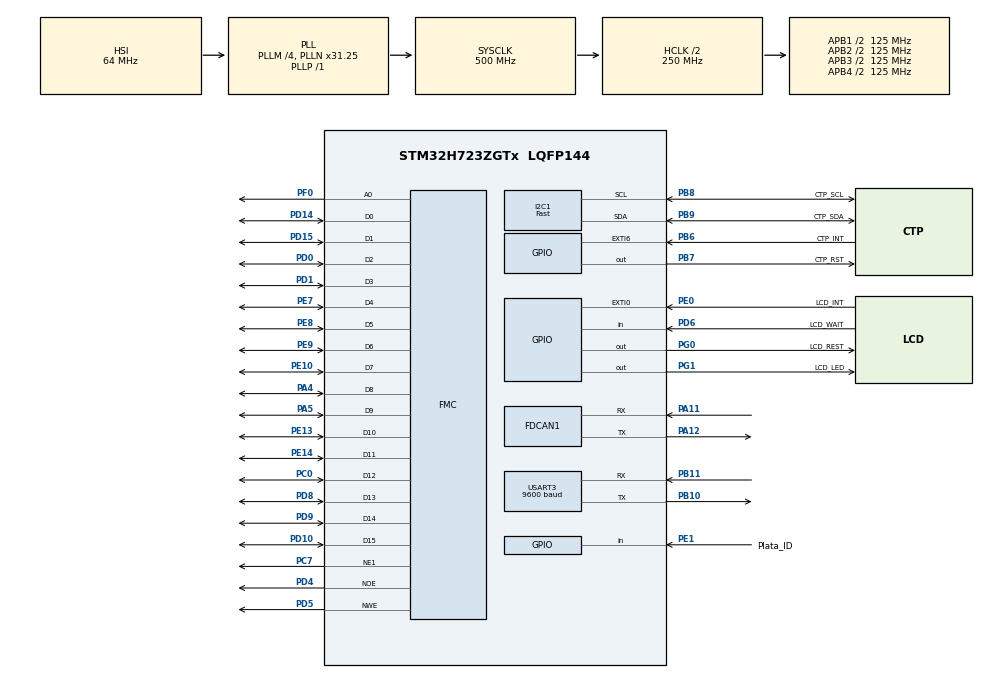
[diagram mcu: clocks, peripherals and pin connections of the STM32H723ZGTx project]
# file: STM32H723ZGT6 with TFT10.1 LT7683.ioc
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CORTEX_M7.AccessPermission_S-Cortex_Memory_Protection_Unit_Region1_Settings_S=MPU_REGION_FULL_ACCESS
CORTEX_M7.AccessPermission_Spec=MPU_REGION_NO_ACCESS
CORTEX_M7.BaseAddress_S-Cortex_Memory_Protection_Unit_Region1_Settings_S=0x60000000
CORTEX_M7.DisableExec_S-Cortex_Memory_Protection_Unit_Region1_Settings_S=MPU_INSTRUCTION_ACCESS_DISABLE
CORTEX_M7.Enable_S-Cortex_Memory_Protection_Unit_Region1_Settings_S=MPU_REGION_ENABLE
CORTEX_M7.IsBufferable_S-Cortex_Memory_Protection_Unit_Region1_Settings_S=MPU_ACCESS_BUFFERABLE
CORTEX_M7.IsShareable_S-Cortex_Memory_Protection_Unit_Region1_Settings_S=MPU_ACCESS_SHAREABLE
CORTEX_M7.Size_S-Cortex_Memory_Protection_Unit_Region1_Settings_S=MPU_REGION_SIZE_64B
CORTEX_M7.SubRegionDisable_Spec=0x8F
CORTEX_M7.default_mode_Activation=1
FDCAN1.AutoRetransmission=ENABLE
FDCAN1.CalculateBaudRateNominal=50000
FDCAN1.CalculateTimeBitNominal=20000
FDCAN1.CalculateTimeQuantumNominal=2000.0
FDCAN1.ExtFiltersNbr=1
FDCAN1.NominalPrescaler=250
FDCAN1.NominalTimeSeg1=8
FDCAN1.NominalTimeSeg2=1
FDCAN1.RxFifo0ElmtsNbr=8
FDCAN1.StdFiltersNbr=1
FDCAN1.TxFifoQueueElmtsNbr=8
FMC.AddressSetupTime1=3
FMC.BusTurnAroundDuration1=3
FMC.DataSetupTime1=10
FMC.WriteOperation1=FMC_WRITE_OPERATION_ENABLE
I2C1.I2C_Speed_Mode=I2C_Fast
I2C1.Timing=0x00C042E4
Mcu.Family=STM32H7
Mcu.Name=STM32H723ZGTx
Mcu.Package=LQFP144
NVIC.EXTI0_IRQn=true\:0\:0\:false\:false\:true\:true\:true\:true
NVIC.EXTI9_5_IRQn=true\:0\:0\:false\:false\:true\:true\:true\:true
NVIC.FDCAN1_IT0_IRQn=true\:0\:0\:false\:false\:true\:true\:true\:true
NVIC.PriorityGroup=NVIC_PRIORITYGROUP_4
NVIC.TIM2_IRQn=true\:0\:0\:false\:false\:true\:true\:true\:true
NVIC.TIM3_IRQn=true\:0\:0\:false\:false\:true\:true\:true\:true
NVIC.TIM4_IRQn=true\:0\:0\:false\:false\:true\:true\:true\:true
PA11.Mode=FDCAN_Activate
PA11.Signal=FDCAN1_RX
PA12.Mode=FDCAN_Activate
PA12.Signal=FDCAN1_TX
PA13(JTMS/SWDIO).GPIO_Label=SWDIO
PA13(JTMS/SWDIO).Mode=Serial_Wire
PA13(JTMS/SWDIO).Signal=DEBUG_JTMS-SWDIO
PA14(JTCK/SWCLK).GPIO_Label=SWCLK
PA14(JTCK/SWCLK).Mode=Serial_Wire
PA14(JTCK/SWCLK).Signal=DEBUG_JTCK-SWCLK
PA4.Signal=FMC_D8_DA8
PA5.Signal=FMC_D9_DA9
PB10.Mode=Asynchronous
PB10.Signal=USART3_TX
PB11.Mode=Asynchronous
PB11.Signal=USART3_RX
PB6.GPIO_Label=CTP_INT
PB6.GPIO_PuPd=GPIO_PULLUP
PB6.Signal=GPXTI6
PB7.GPIO_Label=CTP_RST
PB7.GPIO_PuPd=GPIO_NOPULL
PB7.PinState=GPIO_PIN_SET
PB7.Signal=GPIO_Output
PB8.GPIO_Label=CTP_SCL
PB8.GPIO_Pu=GPIO_PULLUP
PB8.Mode=I2C
PB8.Signal=I2C1_SCL
PB9.GPIO_Label=CTP_SDA
PB9.GPIO_Pu=GPIO_PULLUP
PB9.Mode=I2C
PB9.Signal=I2C1_SDA
PC0.Signal=FMC_D12_DA12
PC14-OSC32_IN.Mode=LSE-External-Oscillator
PC14-OSC32_IN.Signal=RCC_OSC32_IN
PC15-OSC32_OUT.Mode=LSE-External-Oscillator
PC15-OSC32_OUT.Signal=RCC_OSC32_OUT
PC7.Mode=NorPsramChipSelect1_1
PC7.Signal=FMC_NE1
PD0.Signal=FMC_D2_DA2
PD1.Signal=FMC_D3_DA3
PD10.Signal=FMC_D15_DA15
PD14.Signal=FMC_D0_DA0
PD15.Signal=FMC_D1_DA1
PD4.Signal=FMC_NOE
PD5.Signal=FMC_NWE
PD6.GPIO_Label=LCD_WAIT
PD6.GPIO_PuPd=GPIO_PULLUP
PD6.Signal=GPIO_Input
PD8.Signal=FMC_D13_DA13
PD9.Signal=FMC_D14_DA14
PE0.GPIO_Label=LCD_INT
PE0.GPIO_ModeDefaultEXTI=GPIO_MODE_IT_FALLING
PE0.GPIO_PuPd=GPIO_PULLUP
PE0.Signal=GPXTI0
PE1.GPIO_Label=Plata_ID
PE1.GPIO_PuPd=GPIO_NOPULL
PE1.Signal=GPIO_Input
PE10.Signal=FMC_D7_DA7
PE13.Signal=FMC_D10_DA10
PE14.Signal=FMC_D11_DA11
PE7.Signal=FMC_D4_DA4
PE8.Signal=FMC_D5_DA5
PE9.Signal=FMC_D6_DA6
PF0.Signal=FMC_A0
PG0.GPIO_Label=LCD_REST
PG0.PinState=GPIO_PIN_SET
PG0.Signal=GPIO_Output
PG1.GPIO_Label=LCD_LED
PG1.PinState=GPIO_PIN_SET
PG1.Signal=GPIO_Output
ProjectManager.HeapSize=0x200
ProjectManager.StackSize=0x400
ProjectManager.TargetToolchain=STM32CubeIDE
RCC.ADCFreq_Value=129000000
RCC.APB1Freq_Value=125000000
RCC.APB2Freq_Value=125000000
RCC.APB3Freq_Value=125000000
RCC.APB4Freq_Value=125000000
RCC.CortexFreq_Value=500000000
RCC.D1PPRE=RCC_APB3_DIV2
RCC.D2PPRE1=RCC_APB1_DIV2
RCC.D2PPRE2=RCC_APB2_DIV2
RCC.D3PPRE=RCC_APB4_DIV2
RCC.DIVM1=4
RCC.DIVN1=31
RCC.DIVP1=1
RCC.DIVQ1=4
RCC.HCLKFreq_Value=250000000
RCC.HPRE=RCC_HCLK_DIV2
RCC.HSE_VALUE=8000000
RCC.PLLFRACN=2048
RCC.PREFETCH_ENABLE=1
RCC.SYSCLKFreq_VALUE=500000000
RCC.SYSCLKSource=RCC_SYSCLKSOURCE_PLLCLK
RCC.USBCLockSelection=RCC_USBCLKSOURCE_HSI48
RCC.USBFreq_Value=48000000
SH.FMC_A0.0=FMC_A0,1b-a1
SH.FMC_D0_DA0.0=FMC_D0,16b-d1
SH.FMC_D10_DA10.0=FMC_D10,16b-d1
SH.FMC_D11_DA11.0=FMC_D11,16b-d1
SH.FMC_D12_DA12.0=FMC_D12,16b-d1
SH.FMC_D13_DA13.0=FMC_D13,16b-d1
SH.FMC_D14_DA14.0=FMC_D14,16b-d1
SH.FMC_D15_DA15.0=FMC_D15,16b-d1
SH.FMC_D1_DA1.0=FMC_D1,16b-d1
SH.FMC_D2_DA2.0=FMC_D2,16b-d1
SH.FMC_D3_DA3.0=FMC_D3,16b-d1
SH.FMC_D4_DA4.0=FMC_D4,16b-d1
SH.FMC_D5_DA5.0=FMC_D5,16b-d1
SH.FMC_D6_DA6.0=FMC_D6,16b-d1
SH.FMC_D7_DA7.0=FMC_D7,16b-d1
SH.FMC_D8_DA8.0=FMC_D8,16b-d1
SH.FMC_D9_DA9.0=FMC_D9,16b-d1
SH.FMC_NOE.0=FMC_NOE,Sram1
SH.FMC_NWE.0=FMC_NWE,Sram1
TIM2.Period=1000
TIM2.Prescaler=96-1
TIM2.TIM_MasterOutputTrigger=TIM_TRGO_UPDATE
TIM3.Period=0xFFFF
TIM3.Prescaler=9600-1
TIM4.Period=0xFFFF
TIM4.Prescaler=9600-1
USART3.BaudRate=9600
USART3.VirtualMode-Asynchronous=VM_ASYNC
VP_MEMORYMAP_VS_MEMORYMAP.Mode=CurAppReg
VP_TIM2_VS_ClockSourceINT.Mode=Internal
VP_TIM3_VS_ClockSourceINT.Mode=Internal
VP_TIM4_VS_ClockSourceINT.Mode=Internal
board=NUCLEO-H723ZG

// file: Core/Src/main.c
/* USER CODE BEGIN Header */
/**
  ******************************************************************************
  * @file           : main.c
  * @brief          : Main program body
  ******************************************************************************
  * @attention
  *
  * Copyright (c) 2026 STMicroelectronics.
  * All rights reserved.
  *
  * This software is licensed under terms that can be found in the LICENSE file
  * in the root directory of this software component.
  * If no LICENSE file comes with this software, it is provided AS-IS.
  *
  ******************************************************************************
  */
/* USER CODE END Header */
#include "main.h"
#include "fdcan.h"
#include "i2c.h"
#include "tim.h"
#include "usart.h"
#include "gpio.h"
#include "fmc.h"

/* USER CODE BEGIN Includes */
#include "ssd1963.h"
#include "room_ui.h"
#include "gt9271.h"
#include "hmi_menu.h"
/* USER CODE END Includes */

/* USER CODE BEGIN PV */
static RoomUi_Values g_room_values;
static uint8_t g_doors_mask = 0x1FU;
static uint8_t g_link = 1U;
static uint8_t g_sim_on = 1U;
static HmiMenu_Ctx g_menu;
/* USER CODE END PV */

void SystemClock_Config(void);
static void MPU_Config(void);

int main(void)
{

  /* USER CODE BEGIN 1 */
  SCB_EnableICache();
  /* USER CODE END 1 */

  /* MPU Configuration--------------------------------------------------------*/
  MPU_Config();

  /* MCU Configuration--------------------------------------------------------*/

  /* Reset of all peripherals, Initializes the Flash interface and the Systick. */
  HAL_Init();

  /* Configure the system clock */
  SystemClock_Config();

  /* USER CODE BEGIN SysInit */
  /* FMC Bank1 @0x60000000: open MPU (Region0 otherwise blocks it) */
  {
    MPU_Region_InitTypeDef MPU_InitStruct = {0};

    HAL_MPU_Disable();

    MPU_InitStruct.Enable = MPU_REGION_ENABLE;
    MPU_InitStruct.Number = MPU_REGION_NUMBER0;
    MPU_InitStruct.BaseAddress = 0x0;
    MPU_InitStruct.Size = MPU_REGION_SIZE_4GB;
    MPU_InitStruct.SubRegionDisable = 0x8F;
    MPU_InitStruct.TypeExtField = MPU_TEX_LEVEL0;
    MPU_InitStruct.AccessPermission = MPU_REGION_NO_ACCESS;
    MPU_InitStruct.DisableExec = MPU_INSTRUCTION_ACCESS_DISABLE;
    MPU_InitStruct.IsShareable = MPU_ACCESS_SHAREABLE;
    MPU_InitStruct.IsCacheable = MPU_ACCESS_NOT_CACHEABLE;
    MPU_InitStruct.IsBufferable = MPU_ACCESS_NOT_BUFFERABLE;
    HAL_MPU_ConfigRegion(&MPU_InitStruct);

    MPU_InitStruct.Number = MPU_REGION_NUMBER1;
    MPU_InitStruct.BaseAddress = 0x60000000;
    MPU_InitStruct.Size = MPU_REGION_SIZE_64MB;
    MPU_InitStruct.SubRegionDisable = 0x00;
    MPU_InitStruct.AccessPermission = MPU_REGION_FULL_ACCESS;
    MPU_InitStruct.IsCacheable = MPU_ACCESS_NOT_CACHEABLE;
    MPU_InitStruct.IsBufferable = MPU_ACCESS_NOT_BUFFERABLE;
    HAL_MPU_ConfigRegion(&MPU_InitStruct);

    HAL_MPU_Enable(MPU_PRIVILEGED_DEFAULT);
  }
  /* USER CODE END SysInit */

  /* Initialize all configured peripherals */
  MX_GPIO_Init();
  MX_TIM2_Init();
  MX_USART3_UART_Init();
  MX_TIM3_Init();
  MX_TIM4_Init();
  MX_FMC_Init();
  MX_FDCAN1_Init();
  MX_I2C1_Init();
  /* USER CODE BEGIN 2 */
  LT7683_Init();

  g_room_values.temperature_c = 22.4f;
  g_room_values.humidity_pct = 45.0f;
  g_room_values.pressure_pa = 20.0f;
  g_room_values.t_set = 22.0f;
  g_room_values.fan_speed = 80.0f;
  g_room_values.fault_mask = 0U;

  RoomUi_Init("Clean Room");
  RoomUi_Update(&g_room_values);
  RoomUi_UpdateDoors(g_doors_mask, g_link);

  (void)GT9271_Init();
  g_menu.values = &g_room_values;
  g_menu.doors_mask = &g_doors_mask;
  g_menu.link = &g_link;
  g_menu.sim_on = &g_sim_on;
  HmiMenu_Init(&g_menu);
  /* USER CODE END 2 */

  /* Infinite loop */
  while (1)
  {

    /* USER CODE BEGIN 3 */
    {
      uint16_t tx = 0U;
      uint16_t ty = 0U;
      uint8_t down = GT9271_Poll(&tx, &ty);
      HmiMenu_Poll(down, tx, ty);
    }
    if (HmiMenu_IsOpen() == 0U)
    {
      if (g_sim_on != 0U)
      {
        RoomUi_SimulateStep(&g_room_values, HAL_GetTick());
      }
      RoomUi_Update(&g_room_values);
    }
    HAL_Delay(20);
  }
  /* USER CODE END 3 */
}

void SystemClock_Config(void)
{
  RCC_OscInitTypeDef RCC_OscInitStruct = {0};
  RCC_ClkInitTypeDef RCC_ClkInitStruct = {0};

  /** Supply configuration update enable
  */
  HAL_PWREx_ConfigSupply(PWR_LDO_SUPPLY);

  /** Configure the main internal regulator output voltage
  */
  __HAL_PWR_VOLTAGESCALING_CONFIG(PWR_REGULATOR_VOLTAGE_SCALE0);

  while(!__HAL_PWR_GET_FLAG(PWR_FLAG_VOSRDY)) {}

  /** Initializes the RCC Oscillators according to the specified parameters
  * in the RCC_OscInitTypeDef structure.
  */
  RCC_OscInitStruct.OscillatorType = RCC_OSCILLATORTYPE_HSI;
  RCC_OscInitStruct.HSIState = RCC_HSI_DIV1;
  RCC_OscInitStruct.HSICalibrationValue = 64;
  RCC_OscInitStruct.PLL.PLLState = RCC_PLL_ON;
  RCC_OscInitStruct.PLL.PLLSource = RCC_PLLSOURCE_HSI;
  RCC_OscInitStruct.PLL.PLLM = 4;
  RCC_OscInitStruct.PLL.PLLN = 31;
  RCC_OscInitStruct.PLL.PLLP = 1;
  RCC_OscInitStruct.PLL.PLLQ = 4;
  RCC_OscInitStruct.PLL.PLLR = 2;
  RCC_OscInitStruct.PLL.PLLRGE = RCC_PLL1VCIRANGE_3;
  RCC_OscInitStruct.PLL.PLLVCOSEL = RCC_PLL1VCOWIDE;
  RCC_OscInitStruct.PLL.PLLFRACN = 2048;
  if (HAL_RCC_OscConfig(&RCC_OscInitStruct) != HAL_OK)
  {
    Error_Handler();
  }

  /** Initializes the CPU, AHB and APB buses clocks
  */
  RCC_ClkInitStruct.ClockType = RCC_CLOCKTYPE_HCLK|RCC_CLOCKTYPE_SYSCLK
                              |RCC_CLOCKTYPE_PCLK1|RCC_CLOCKTYPE_PCLK2
                              |RCC_CLOCKTYPE_D3PCLK1|RCC_CLOCKTYPE_D1PCLK1;
  RCC_ClkInitStruct.SYSCLKSource = RCC_SYSCLKSOURCE_PLLCLK;
  RCC_ClkInitStruct.SYSCLKDivider = RCC_SYSCLK_DIV1;
  RCC_ClkInitStruct.AHBCLKDivider = RCC_HCLK_DIV2;
  RCC_ClkInitStruct.APB3CLKDivider = RCC_APB3_DIV2;
  RCC_ClkInitStruct.APB1CLKDivider = RCC_APB1_DIV2;
  RCC_ClkInitStruct.APB2CLKDivider = RCC_APB2_DIV2;
  RCC_ClkInitStruct.APB4CLKDivider = RCC_APB4_DIV2;

  if (HAL_RCC_ClockConfig(&RCC_ClkInitStruct, FLASH_LATENCY_3) != HAL_OK)
  {
    Error_Handler();
  }
}

 /* MPU Configuration */

void MPU_Config(void)
{
  MPU_Region_InitTypeDef MPU_InitStruct = {0};

  /* Disables the MPU */
  HAL_MPU_Disable();

  /** Initializes and configures the Region and the memory to be protected
  */
  MPU_InitStruct.Enable = MPU_REGION_ENABLE;
  MPU_InitStruct.Number = MPU_REGION_NUMBER0;
  MPU_InitStruct.BaseAddress = 0x0;
  MPU_InitStruct.Size = MPU_REGION_SIZE_4GB;
  MPU_InitStruct.SubRegionDisable = 0x8F;
  MPU_InitStruct.TypeExtField = MPU_TEX_LEVEL0;
  MPU_InitStruct.AccessPermission = MPU_REGION_NO_ACCESS;
  MPU_InitStruct.DisableExec = MPU_INSTRUCTION_ACCESS_DISABLE;
  MPU_InitStruct.IsShareable = MPU_ACCESS_SHAREABLE;
  MPU_InitStruct.IsCacheable = MPU_ACCESS_NOT_CACHEABLE;
  MPU_InitStruct.IsBufferable = MPU_ACCESS_NOT_BUFFERABLE;

  HAL_MPU_ConfigRegion(&MPU_InitStruct);

  /** Initializes and configures the Region and the memory to be protected
  */
  MPU_InitStruct.Number = MPU_REGION_NUMBER1;
  MPU_InitStruct.BaseAddress = 0x60000000;
  MPU_InitStruct.Size = MPU_REGION_SIZE_64B;
  MPU_InitStruct.SubRegionDisable = 0x0;
  MPU_InitStruct.AccessPermission = MPU_REGION_FULL_ACCESS;
  MPU_InitStruct.IsBufferable = MPU_ACCESS_BUFFERABLE;

  HAL_MPU_ConfigRegion(&MPU_InitStruct);
  /* Enables the MPU */
  HAL_MPU_Enable(MPU_PRIVILEGED_DEFAULT);

}

void Error_Handler(void)
{
  __disable_irq();
  while (1)
  {
  }
}
